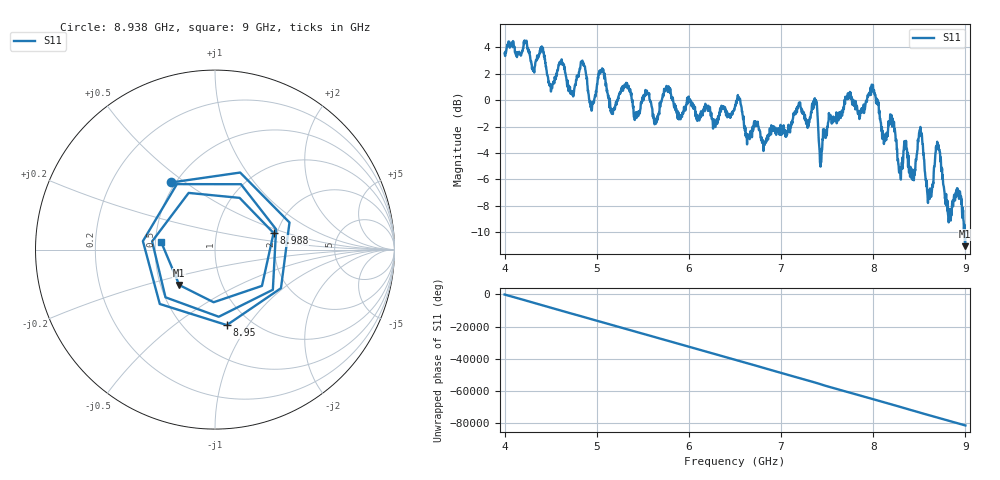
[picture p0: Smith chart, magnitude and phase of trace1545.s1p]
! Created with skrf 1.8.0 (http://scikit-rf.org).
# Hz S RI R 50.0
!freq ReS11 ImS11
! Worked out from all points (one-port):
!   1601 points, 4 GHz to 9 GHz, reference 50 ohm
!   lowest |S11| = -11.0 dB at 8.997 GHz (marker M1), VSWR 1.78, Z = 31.2 - j13.4 ohm
!   |S11| at or under -10 dB: 8.99212 GHz to end of sweep
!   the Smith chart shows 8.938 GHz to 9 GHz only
!   S11 on the Smith chart (normalised r, x): 8.938 GHz: 0.48, +0.44; 8.95 GHz: 0.78, -0.80; 8.988 GHz: 1.91, +0.40; 9 GHz: 0.54, +0.05
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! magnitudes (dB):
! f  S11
! 4 GHz  3.5
! 4.625 GHz  2.8
! 4.731 GHz  0.4
! 4.853 GHz  2.9
! 4.944 GHz  -0.8
! 5.047 GHz  2.3
! 5.162 GHz  -1.0
! 5.25 GHz  0.6
! 5.875 GHz  -0.9
! 6.5 GHz  -0.5
! 6.816 GHz  -3.4
! 7.125 GHz  -1.5
! 7.369 GHz  0.0
! 7.434 GHz  -4.7
! 7.75 GHz  0.2
! 7.994 GHz  1.1
! 8.112 GHz  -2.9
! 8.375 GHz  -4.4
! 8.431 GHz  -5.3
! 8.509 GHz  -2.3
! 8.609 GHz  -7.0
! 8.7 GHz  -3.3
! 8.819 GHz  -9.2
! 8.938 GHz  -7.0
! 8.95 GHz  -7.4
! 8.988 GHz  -9.4
! 8.997 GHz  -11.0
! 9 GHz  -10.4
